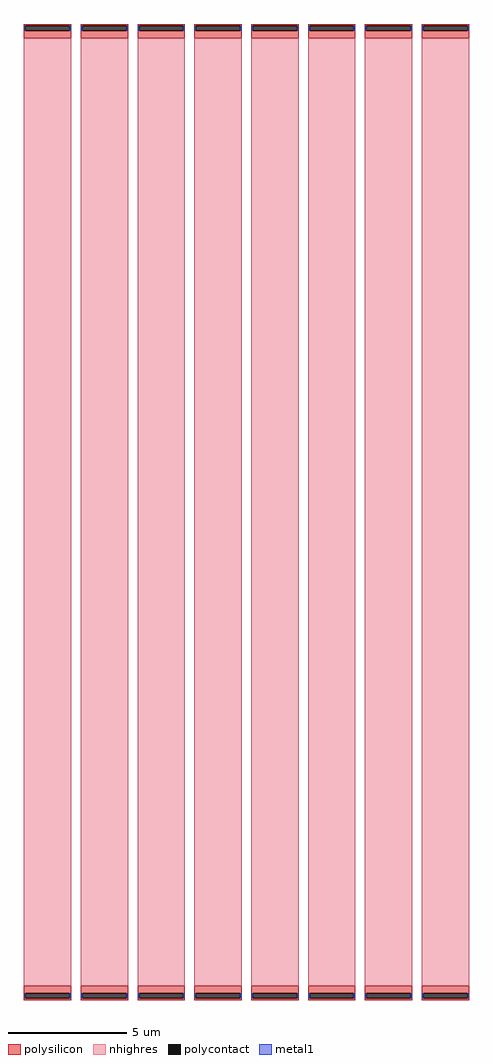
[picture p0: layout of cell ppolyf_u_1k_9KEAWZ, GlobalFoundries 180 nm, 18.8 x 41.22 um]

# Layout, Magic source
magic
tech gf180mcuD
magscale 1 10
<< polysilicon >>
rect -1880 4109 -1480 4122
rect -1880 4063 -1867 4109
rect -1493 4063 -1480 4109
rect -1880 4000 -1480 4063
rect -1880 -4063 -1480 -4000
rect -1880 -4109 -1867 -4063
rect -1493 -4109 -1480 -4063
rect -1880 -4122 -1480 -4109
rect -1400 4109 -1000 4122
rect -1400 4063 -1387 4109
rect -1013 4063 -1000 4109
rect -1400 4000 -1000 4063
rect -1400 -4063 -1000 -4000
rect -1400 -4109 -1387 -4063
rect -1013 -4109 -1000 -4063
rect -1400 -4122 -1000 -4109
rect -920 4109 -520 4122
rect -920 4063 -907 4109
rect -533 4063 -520 4109
rect -920 4000 -520 4063
rect -920 -4063 -520 -4000
rect -920 -4109 -907 -4063
rect -533 -4109 -520 -4063
rect -920 -4122 -520 -4109
rect -440 4109 -40 4122
rect -440 4063 -427 4109
rect -53 4063 -40 4109
rect -440 4000 -40 4063
rect -440 -4063 -40 -4000
rect -440 -4109 -427 -4063
rect -53 -4109 -40 -4063
rect -440 -4122 -40 -4109
rect 40 4109 440 4122
rect 40 4063 53 4109
rect 427 4063 440 4109
rect 40 4000 440 4063
rect 40 -4063 440 -4000
rect 40 -4109 53 -4063
rect 427 -4109 440 -4063
rect 40 -4122 440 -4109
rect 520 4109 920 4122
rect 520 4063 533 4109
rect 907 4063 920 4109
rect 520 4000 920 4063
rect 520 -4063 920 -4000
rect 520 -4109 533 -4063
rect 907 -4109 920 -4063
rect 520 -4122 920 -4109
rect 1000 4109 1400 4122
rect 1000 4063 1013 4109
rect 1387 4063 1400 4109
rect 1000 4000 1400 4063
rect 1000 -4063 1400 -4000
rect 1000 -4109 1013 -4063
rect 1387 -4109 1400 -4063
rect 1000 -4122 1400 -4109
rect 1480 4109 1880 4122
rect 1480 4063 1493 4109
rect 1867 4063 1880 4109
rect 1480 4000 1880 4063
rect 1480 -4063 1880 -4000
rect 1480 -4109 1493 -4063
rect 1867 -4109 1880 -4063
rect 1480 -4122 1880 -4109
<< polycontact >>
rect -1867 4063 -1493 4109
rect -1867 -4109 -1493 -4063
rect -1387 4063 -1013 4109
rect -1387 -4109 -1013 -4063
rect -907 4063 -533 4109
rect -907 -4109 -533 -4063
rect -427 4063 -53 4109
rect -427 -4109 -53 -4063
rect 53 4063 427 4109
rect 53 -4109 427 -4063
rect 533 4063 907 4109
rect 533 -4109 907 -4063
rect 1013 4063 1387 4109
rect 1013 -4109 1387 -4063
rect 1493 4063 1867 4109
rect 1493 -4109 1867 -4063
<< nhighres >>
rect -1880 -4000 -1480 4000
rect -1400 -4000 -1000 4000
rect -920 -4000 -520 4000
rect -440 -4000 -40 4000
rect 40 -4000 440 4000
rect 520 -4000 920 4000
rect 1000 -4000 1400 4000
rect 1480 -4000 1880 4000
<< metal1 >>
rect -1878 4063 -1867 4109
rect -1493 4063 -1482 4109
rect -1398 4063 -1387 4109
rect -1013 4063 -1002 4109
rect -918 4063 -907 4109
rect -533 4063 -522 4109
rect -438 4063 -427 4109
rect -53 4063 -42 4109
rect 42 4063 53 4109
rect 427 4063 438 4109
rect 522 4063 533 4109
rect 907 4063 918 4109
rect 1002 4063 1013 4109
rect 1387 4063 1398 4109
rect 1482 4063 1493 4109
rect 1867 4063 1878 4109
rect -1878 -4109 -1867 -4063
rect -1493 -4109 -1482 -4063
rect -1398 -4109 -1387 -4063
rect -1013 -4109 -1002 -4063
rect -918 -4109 -907 -4063
rect -533 -4109 -522 -4063
rect -438 -4109 -427 -4063
rect -53 -4109 -42 -4063
rect 42 -4109 53 -4063
rect 427 -4109 438 -4063
rect 522 -4109 533 -4063
rect 907 -4109 918 -4063
rect 1002 -4109 1013 -4063
rect 1387 -4109 1398 -4063
rect 1482 -4109 1493 -4063
rect 1867 -4109 1878 -4063
<< properties >>
string FIXED_BBOX -2056 -4298 2056 4298
string gencell ppolyf_u_1k
string library gf180mcu
string parameters w 2 l 40 m 1 nx 8 wmin 1.000 lmin 1.000 class resistor rho 1000 val 20.0k dummy 0 dw 0.0 term 0.0 sterm 0.0 caplen 0.4 snake 0 glc 0 grc 0 gtc 0 gbc 0 roverlap 0 endcov 100 full_metal 0 compatible {ppolyf_u_1k ppolyf_u_1k_6p0}
<< end >>
